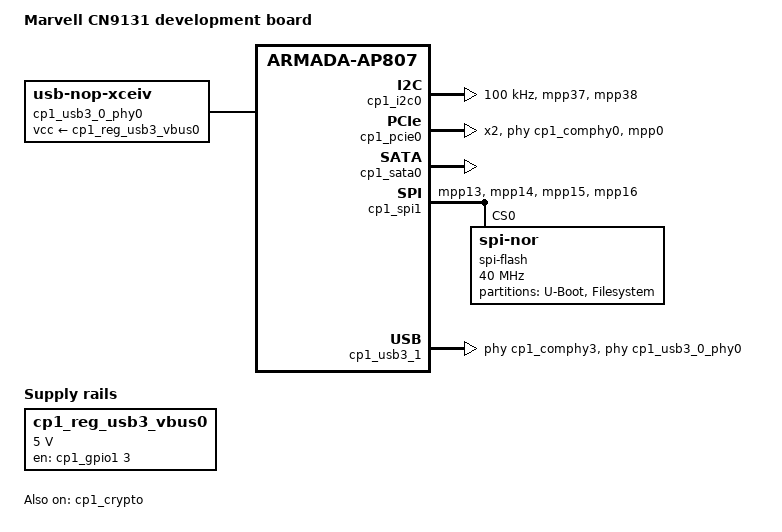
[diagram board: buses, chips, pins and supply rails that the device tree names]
/*
 * Copyright (C) 2018 Marvell International Ltd.
 *
 * SPDX-License-Identifier:    GPL-2.0
 * https://spdx.org/licenses
 */

#undef CP110_NUM
#undef CP110_NAME
#undef CP110_BASE
#undef CP110_PCIE0_BASE
#undef CP110_PCIE1_BASE
#undef CP110_PCIE2_BASE
#undef CP110_PCIEx_CPU_MEM_BASE
#undef CP110_PCIEx_MEM_BASE

/* CP110-1 Settings */
#define CP110_NAME                       cp1
#define CP110_NUM                        1
#define CP110_BASE                       f4000000
#define CP110_PCIE0_BASE                 f4600000
#define CP110_PCIE1_BASE                 f4620000
#define CP110_PCIE2_BASE                 f4640000
#define CP110_PCIEx_CPU_MEM_BASE(iface)  (0xe2000000 + (iface) * 0x1000000)
#define CP110_PCIEx_MEM_BASE(iface)      (CP110_PCIEx_CPU_MEM_BASE(iface))

#include "armada-cp110.dtsi"

/ {
        model = "Marvell CN9131 development board";
        compatible = "marvell,cn9131-db", "marvell,armada-ap807-quad",
                     "marvell,armada-ap807";

        aliases {
                gpio3 = &cp1_gpio1;
                gpio4 = &cp1_gpio2;
                ethernet3 = &cp1_eth0;
                ethernet4 = &cp1_eth1;
        };

        cp1_reg_usb3_vbus0: cp1_usb3_vbus@0 {
                compatible = "regulator-fixed";
                pinctrl-names = "default";
                pinctrl-0 = <&cp1_xhci0_vbus_pins>;
                regulator-name = "cp1-xhci0-vbus";
                regulator-min-microvolt = <5000000>;
                regulator-max-microvolt = <5000000>;
                enable-active-high;
                gpio = <&cp1_gpio1 3 GPIO_ACTIVE_HIGH>;
        };

        cp1_usb3_0_phy0: cp1_usb3_phy0 {
                compatible = "usb-nop-xceiv";
                vcc-supply = <&cp1_reg_usb3_vbus0>;
        };

        cp1_sfp_eth1: sfp-eth1 {
                compatible = "sff,sfp";
                i2c-bus = <&cp1_i2c0>;
                los-gpio = <&cp1_gpio1 11 GPIO_ACTIVE_HIGH>;
                mod-def0-gpio = <&cp1_gpio1 10 GPIO_ACTIVE_LOW>;
                tx-disable-gpio = <&cp1_gpio1 9 GPIO_ACTIVE_HIGH>;
                tx-fault-gpio = <&cp1_gpio1 8 GPIO_ACTIVE_HIGH>;
                pinctrl-names = "default";
                pinctrl-0 = <&cp1_sfp_pins>;
                status = "disabled";
        };
};

&cp1_crypto {
        status = "okay";
};

&cp1_gpio1 {
        status = "okay";
};

&cp1_gpio2 {
        status = "okay";
};

&cp1_i2c0 {
        pinctrl-names = "default";
        pinctrl-0 = <&cp1_i2c0_pins>;
        status = "okay";
        clock-frequency = <100000>;
};

/* CON40 */
&cp1_pcie0 {
        pinctrl-names = "default";
        pinctrl-0 = <&cp1_pcie_reset_pins>;
        num-lanes = <2>;
        num-viewport = <8>;
        marvell,reset-gpio = <&cp1_gpio1 0 GPIO_ACTIVE_HIGH>;
        status = "okay";
        /* Generic PHY, providing serdes lanes */
        phys = <&cp1_comphy0 0
                &cp1_comphy1 0>;
};

&cp1_sata0 {
        status = "okay";
};

/* U24 */
&cp1_spi1 {
        pinctrl-names = "default";
        pinctrl-0 = <&cp1_spi0_pins>;
        reg = <0x700680 0x50>,                /* control */
              <0x2000000 0x1000000>;        /* CS0 */
        status = "okay";

        spi-flash@0 {
                #address-cells = <0x1>;
                #size-cells = <0x1>;
                compatible = "jedec,spi-nor";
                reg = <0x0>;
                /* On-board MUX does not allow higher frequencies */
                spi-max-frequency = <40000000>;

                partitions {
                        compatible = "fixed-partitions";
                        #address-cells = <1>;
                        #size-cells = <1>;

                        partition@0 {
                                label = "U-Boot";
                                reg = <0x0 0x200000>;
                        };

                        partition@400000 {
                                label = "Filesystem";
                                reg = <0x200000 0xe00000>;
                        };
                };
        };

};

&cp1_syscon0 {
        cp1_pinctrl: pinctrl {
                compatible = "marvell,armada-7k-pinctrl";

                cp1_i2c0_pins: cp1-i2c-pins-0 {
                        marvell,pins = "mpp37", "mpp38";
                        marvell,function = "i2c0";
                };
                cp1_spi0_pins: cp1-spi-pins-0 {
                        marvell,pins = "mpp13", "mpp14", "mpp15", "mpp16";
                        marvell,function = "spi1";
                };
                cp1_xhci0_vbus_pins: cp1-xhci0-vbus-pins {
                        marvell,pins = "mpp3";
                        marvell,function = "gpio";
                };
                cp1_sfp_pins: sfp-pins {
                        marvell,pins = "mpp8", "mpp9", "mpp10", "mpp11";
                        marvell,function = "gpio";
                };
                cp1_pcie_reset_pins: cp1-pcie-reset-pins {
                        marvell,pins = "mpp0";
                        marvell,function = "gpio";
                };
        };
};

/* CON58 */
&cp1_usb3_1 {
        status = "okay";
        usb-phy = <&cp1_usb3_0_phy0>;
        /* Generic PHY, providing serdes lanes */
        phys = <&cp1_comphy3 1>;
        phy-names = "usb";
};
